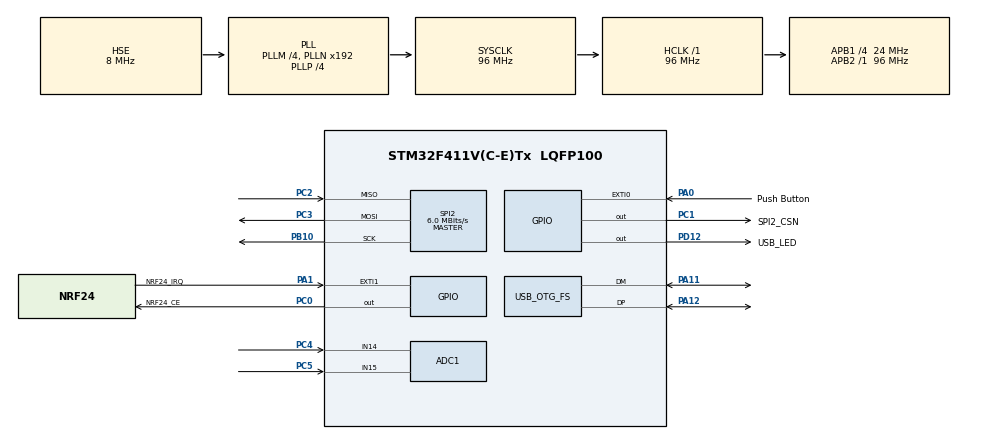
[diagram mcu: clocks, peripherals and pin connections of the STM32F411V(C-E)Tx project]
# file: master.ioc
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ADC1.Channel-22\#ChannelRegularConversion=ADC_CHANNEL_14
ADC1.ContinuousConvMode=ENABLE
ADC1.NbrOfConversionFlag=1
ADC1.Rank-22\#ChannelRegularConversion=1
ADC1.SamplingTime-22\#ChannelRegularConversion=ADC_SAMPLETIME_3CYCLES
ADC1.master=1
Mcu.Family=STM32F4
Mcu.Name=STM32F411V(C-E)Tx
Mcu.Package=LQFP100
NVIC.EXTI0_IRQn=true\:0\:0\:false\:false\:true\:true\:true\:true
NVIC.EXTI1_IRQn=true\:0\:0\:false\:false\:true\:true\:true\:true
NVIC.OTG_FS_IRQn=true\:0\:0\:false\:false\:true\:false\:true\:true
NVIC.PriorityGroup=NVIC_PRIORITYGROUP_0
PA0-WKUP.GPIO_Label=Push Button
PA0-WKUP.Signal=GPXTI0
PA1.GPIO_Label=NRF24_IRQ
PA1.GPIO_ModeDefaultEXTI=GPIO_MODE_IT_FALLING
PA1.Signal=GPXTI1
PA11.Mode=Device_Only
PA11.Signal=USB_OTG_FS_DM
PA12.Mode=Device_Only
PA12.Signal=USB_OTG_FS_DP
PB10.Mode=Full_Duplex_Master
PB10.Signal=SPI2_SCK
PC0.GPIO_Label=NRF24_CE
PC0.GPIO_Speed=GPIO_SPEED_FREQ_HIGH
PC0.PinState=GPIO_PIN_SET
PC0.Signal=GPIO_Output
PC1.GPIO_Label=SPI2_CSN
PC1.GPIO_Speed=GPIO_SPEED_FREQ_HIGH
PC1.PinState=GPIO_PIN_SET
PC1.Signal=GPIO_Output
PC2.Mode=Full_Duplex_Master
PC2.Signal=SPI2_MISO
PC3.Mode=Full_Duplex_Master
PC3.Signal=SPI2_MOSI
PC4.Signal=ADCx_IN14
PC5.Signal=ADCx_IN15
PD12.GPIO_Label=USB_LED
PD12.Signal=GPIO_Output
PH0\ -\ OSC_IN.Mode=HSE-External-Oscillator
PH0\ -\ OSC_IN.Signal=RCC_OSC_IN
PH1\ -\ OSC_OUT.Mode=HSE-External-Oscillator
PH1\ -\ OSC_OUT.Signal=RCC_OSC_OUT
ProjectManager.HeapSize=0x200
ProjectManager.StackSize=0x400
ProjectManager.TargetToolchain=MDK-ARM V5
RCC.48MHZClocksFreq_Value=48000000
RCC.AHBFreq_Value=96000000
RCC.APB1CLKDivider=RCC_HCLK_DIV4
RCC.APB1Freq_Value=24000000
RCC.APB1TimCLKDivider=2
RCC.APB1TimFreq_Value=48000000
RCC.APB2Freq_Value=96000000
RCC.APB2TimFreq_Value=96000000
RCC.CortexFreq_Value=96000000
RCC.HCLKFreq_Value=96000000
RCC.HSE_VALUE=8000000
RCC.HSI_VALUE=16000000
RCC.LSE_VALUE=32768
RCC.PLLI2SM=5
RCC.PLLI2SN=200
RCC.PLLM=4
RCC.PLLP=RCC_PLLP_DIV4
RCC.PLLQ=8
RCC.SYSCLKFreq_VALUE=96000000
RCC.SYSCLKSource=RCC_SYSCLKSOURCE_PLLCLK
RCC.VCOOutputFreq_Value=384000000
SH.ADCx_IN14.0=ADC1_IN14,IN14
SH.ADCx_IN15.0=ADC1_IN15,IN15
SPI2.BaudRatePrescaler=SPI_BAUDRATEPRESCALER_4
SPI2.CalculateBaudRate=6.0 MBits/s
SPI2.Direction=SPI_DIRECTION_2LINES
SPI2.Mode=SPI_MODE_MASTER
SPI2.VirtualType=VM_MASTER
USB_DEVICE.CLASS_NAME_FS=CDC
USB_DEVICE.VirtualMode=Cdc
USB_DEVICE.VirtualModeFS=Cdc_FS
USB_OTG_FS.VirtualMode=Device_Only
VP_USB_DEVICE_VS_USB_DEVICE_CDC_FS.Mode=CDC_FS
board=STM32F411E-DISCO

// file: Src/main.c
/* USER CODE BEGIN Header */
/**
  ******************************************************************************
  * @file           : main.c
  * @brief          : Main program body
  ******************************************************************************
  * @attention
  *
  * Copyright (c) 2024 STMicroelectronics.
  * All rights reserved.
  *
  * This software is licensed under terms that can be found in the LICENSE file
  * in the root directory of this software component.
  * If no LICENSE file comes with this software, it is provided AS-IS.
  *
  ******************************************************************************
  */

/*
	CONNECTION WITH DEVICES
--------------------------
MK port | Interface      |
--------|----------------|
PC0     | NRF24_CE       |
--------|----------------|
PC1     | SPI2_CSN       |
--------|----------------|
PC2     | SPI2_MISO      |
--------|----------------|
PC3     | SPI2_MOSI      |
--------|----------------|
PB10    | SPI2_SCK       |
--------|----------------|
PC4     | VRx            |
--------|----------------|
PC5     | VRy            |
--------|----------------|
PA1     | NRF24_IRQ      |
-------------------------|

*/
/* USER CODE END Header */
#include "main.h"
#include "adc.h"
#include "spi.h"
#include "usb_device.h"
#include "gpio.h"

/* USER CODE BEGIN Includes */
#include "usbd_cdc_if.h"
#include "nrf24l01p.h"
/* USER CODE END Includes */

/* USER CODE BEGIN PD */
#define HEADER 0x55
// Status
#define WITHOUT_OP    0x00
#define OK            0x01
#define INVALID_HDR   0x02
#define INVALID_CRC   0x03
#define UNDEFINED_ERR 0x04

#define CH_MHZ 2500
/* USER CODE END PD */

void SystemClock_Config(void);
/* USER CODE BEGIN PFP */
void HAL_GPIO_EXTI_Callback(uint16_t GPIO_Pin);

/* USER CODE END PFP */

/* USER CODE BEGIN 0 */
uint8_t tx_data[NRF24L01P_PAYLOAD_LENGTH] = {0, 1, 2};
//uint8_t rx_data[NRF24L01P_PAYLOAD_LENGTH] = {0, 1, 2};
uint16_t adc_val[2];
/* USER CODE END 0 */

int main(void)
{

  /* MCU Configuration--------------------------------------------------------*/

  /* Reset of all peripherals, Initializes the Flash interface and the Systick. */
  HAL_Init();

  /* Configure the system clock */
  SystemClock_Config();

  /* Initialize all configured peripherals */
  MX_GPIO_Init();
  MX_USB_DEVICE_Init();
  MX_SPI2_Init();
  MX_ADC1_Init();
  /* USER CODE BEGIN 2 */
	//HAL_ADCEx_Calibration_Start();
	//HAL_ADC_Start_DMA(&hadc1, (uint32_t*)adc_val, 2);
	ADC_ChannelConfTypeDef Channel_AN0; // create an instance of ADC_ChannelConfTypeDef
	Channel_AN0.Channel = ADC_CHANNEL_14; // select analog channel 0
	Channel_AN0.Rank = 1; // set rank to 1
	Channel_AN0.SamplingTime = ADC_SAMPLETIME_15CYCLES; // set sampling time to 15 clock cycles

	ADC_ChannelConfTypeDef Channel_AN1; // create an instance of ADC_ChannelConfTypeDef
	Channel_AN1.Channel = ADC_CHANNEL_15; // select analog channel 1
	Channel_AN1.Rank = 1; // set rank to 1
	Channel_AN1.SamplingTime = ADC_SAMPLETIME_15CYCLES; // set sampling time to 15 clock cycles

	nrf24l01p_tx_init(CH_MHZ, _1Mbps);
  /* USER CODE END 2 */

  /* Infinite loop */
  while (1)
  {

    /* USER CODE BEGIN 3 */
		//HAL_ADC_Start_DMA(&hadc1, (uint32_t*)adc_val, 2);
		HAL_ADC_ConfigChannel(&hadc1, &Channel_AN0);
		HAL_ADC_Start(&hadc1); // start A/D conversion
		if(HAL_ADC_PollForConversion(&hadc1, HAL_MAX_DELAY) == HAL_OK){
			HAL_GPIO_TogglePin(GPIOD, GPIO_PIN_14);  // RED LED
			adc_val[0] = HAL_ADC_GetValue(&hadc1);
		}
		HAL_ADC_Stop(&hadc1); // stop conversion

		// Read y value
		HAL_ADC_ConfigChannel(&hadc1, &Channel_AN1);
		HAL_ADC_Start(&hadc1); // start A/D conversion
		if(HAL_ADC_PollForConversion(&hadc1, HAL_MAX_DELAY) == HAL_OK){
			HAL_GPIO_TogglePin(GPIOD, GPIO_PIN_15);  // BLUE LED
			adc_val[1]  = HAL_ADC_GetValue(&hadc1);
		}
		HAL_ADC_Stop(&hadc1); // stop conversion

		HAL_Delay(100);
		//HAL_ADC_Start_DMA(
  }
  /* USER CODE END 3 */
}

void SystemClock_Config(void)
{
  RCC_OscInitTypeDef RCC_OscInitStruct = {0};
  RCC_ClkInitTypeDef RCC_ClkInitStruct = {0};

  /** Configure the main internal regulator output voltage
  */
  __HAL_RCC_PWR_CLK_ENABLE();
  __HAL_PWR_VOLTAGESCALING_CONFIG(PWR_REGULATOR_VOLTAGE_SCALE1);

  /** Initializes the RCC Oscillators according to the specified parameters
  * in the RCC_OscInitTypeDef structure.
  */
  RCC_OscInitStruct.OscillatorType = RCC_OSCILLATORTYPE_HSE;
  RCC_OscInitStruct.HSEState = RCC_HSE_ON;
  RCC_OscInitStruct.PLL.PLLState = RCC_PLL_ON;
  RCC_OscInitStruct.PLL.PLLSource = RCC_PLLSOURCE_HSE;
  RCC_OscInitStruct.PLL.PLLM = 4;
  RCC_OscInitStruct.PLL.PLLN = 192;
  RCC_OscInitStruct.PLL.PLLP = RCC_PLLP_DIV4;
  RCC_OscInitStruct.PLL.PLLQ = 8;
  if (HAL_RCC_OscConfig(&RCC_OscInitStruct) != HAL_OK)
  {
    Error_Handler();
  }

  /** Initializes the CPU, AHB and APB buses clocks
  */
  RCC_ClkInitStruct.ClockType = RCC_CLOCKTYPE_HCLK|RCC_CLOCKTYPE_SYSCLK
                              |RCC_CLOCKTYPE_PCLK1|RCC_CLOCKTYPE_PCLK2;
  RCC_ClkInitStruct.SYSCLKSource = RCC_SYSCLKSOURCE_PLLCLK;
  RCC_ClkInitStruct.AHBCLKDivider = RCC_SYSCLK_DIV1;
  RCC_ClkInitStruct.APB1CLKDivider = RCC_HCLK_DIV4;
  RCC_ClkInitStruct.APB2CLKDivider = RCC_HCLK_DIV1;

  if (HAL_RCC_ClockConfig(&RCC_ClkInitStruct, FLASH_LATENCY_3) != HAL_OK)
  {
    Error_Handler();
  }
}

/* USER CODE BEGIN 4 */
//int tx_mode = 1;

void HAL_GPIO_EXTI_Callback(uint16_t GPIO_Pin)
{
	//UNUSED(GPIO_Pin);

	if(GPIO_Pin == Push_Button_Pin)
	{
		//nrf24l01p_ptx_mode();
		//tx_mode = 1;
		char msg [150];
		sprintf(msg, "x = %0d; y = %0d\n\r", adc_val[0],adc_val[1] /*adc_val[1]*/);
		CDC_Transmit_FS((uint8_t*)msg , (uint16_t)strlen(msg));

		tx_data[0] = HEADER;
		tx_data[1] = (uint8_t)(adc_val[0] & 0xFF);        // LSB
		tx_data[2] = (uint8_t)((adc_val[0] >> 8) & 0xFF); // MSB
		tx_data[3] = (uint8_t)(adc_val[1] & 0xFF);        // LSB
		tx_data[4] = (uint8_t)((adc_val[1] >> 8) & 0xFF); // MSB
		tx_data[5] = 0x00;
		for(int i = 0; i < 5; ++i)
		{
			tx_data[5]+= tx_data[i];
		}

		nrf24l01p_tx_transmit(tx_data);

		//nrf24l01p_prx_mode();
		//tx_mode = 0;

		HAL_GPIO_TogglePin(USB_LED_GPIO_Port, USB_LED_Pin);
	}

	if(GPIO_Pin == NRF24L01P_IRQ_PIN_NUMBER)
	{
		//if(tx_mode)
		//{
			nrf24l01p_tx_irq(); // clear interrupt flag
		//}
		/*else
		{
			// RCV Respond
			//nrf24l01p_tx_irq();
			char msg[200];
			//HAL_Delay(100);
			nrf24l01p_rx_receive(rx_data);

			if(rx_data[0] == HEADER)
			{
				if((rx_data[0] + rx_data[1]) == rx_data[2])
				{
					sprintf(msg, "\n[MASTER] : RESPOND FROM SLAVE:\n\r0: 0x%0x\n\r1: 0x%0x\n\r2: 0x%0x\n\rCommunication established\n\r",
            rx_data[0], rx_data[1], rx_data[2]);
				}
				else
				{
					sprintf(msg, "\n[MASTER] : RESPOND FROM SLAVE:\n\r0: 0x%0x\n\r1: 0x%0x\n\r2: 0x%0x\n\rCRC Mismatched\n\r",
            rx_data[0], rx_data[1], rx_data[2]);
				}
			}
			else
			{
				//sprintf(additional_txt, "Invalid Header\n\r");
				sprintf(msg, "\n[MASTER] : RESPOND FROM SLAVE:\n\r0: 0x%0x\n\r1: 0x%0x\n\r2: 0x%0x\n\rInvalid Header\n\r",
            rx_data[0], rx_data[1], rx_data[2]);
			}

			CDC_Transmit_FS((uint8_t*)msg, (uint16_t)strlen(msg));

			nrf24l01p_ptx_mode();
			tx_mode = 1;
		}*/
	}

}
/* USER CODE END 4 */

void Error_Handler(void)
{
  __disable_irq();
  while (1)
  {
  }
}
